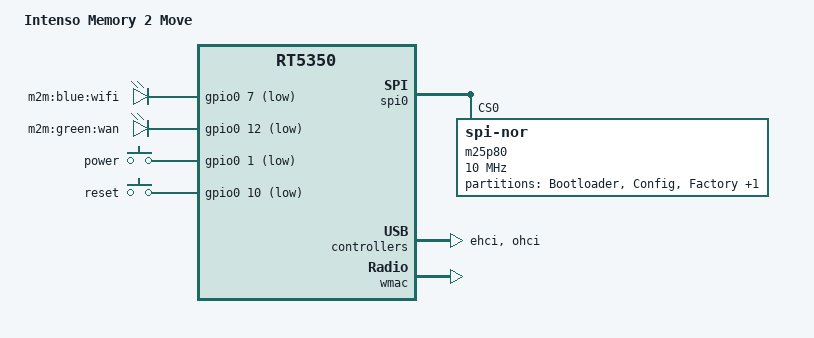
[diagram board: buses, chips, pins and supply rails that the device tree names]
/dts-v1/;

#include "rt5350.dtsi"

#include <dt-bindings/gpio/gpio.h>
#include <dt-bindings/input/input.h>

/ {
	compatible = "intenso,memory2move", "ralink,rt5350-soc";
	model = "Intenso Memory 2 Move";

	aliases {
		led-boot = &led_wifi;
		led-failsafe = &led_wifi;
		led-running = &led_wifi;
		led-upgrade = &led_wifi;
	};

	chosen {
		bootargs = "console=ttyS0,57600n8 root=/dev/mtdblock5";
	};

	gpio-leds {
		compatible = "gpio-leds";

		led_wifi: wifi {
			label = "m2m:blue:wifi";
			gpios = <&gpio0 7 GPIO_ACTIVE_LOW>;
		};

		wan {
			label = "m2m:green:wan";
			gpios = <&gpio0 12 GPIO_ACTIVE_LOW>;
		};
	};

	gpio-keys-polled {
		compatible = "gpio-keys-polled";
		poll-interval = <20>;

		power {
			label = "power";
			gpios = <&gpio0 1 GPIO_ACTIVE_LOW>;
			linux,code = <KEY_POWER>;
		};

		reset {
			label = "reset";
			gpios = <&gpio0 10 GPIO_ACTIVE_LOW>;
			linux,code = <KEY_RESTART>;
		};
	};
};

&spi0 {
	status = "okay";

	m25p80@0 {
		compatible = "jedec,spi-nor";
		reg = <0>;
		spi-max-frequency = <10000000>;

		partitions {
			compatible = "fixed-partitions";
			#address-cells = <1>;
			#size-cells = <1>;

			partition@0 {
				label = "Bootloader";
				reg = <0x0 0x30000>;
				read-only;
			};

			partition@30000 {
				label = "Config";
				reg = <0x30000 0x10000>;
				read-only;
			};

			factory: partition@40000 {
				label = "Factory";
				reg = <0x40000 0x10000>;
				read-only;
			};

			partition@50000 {
				label = "firmware";
				reg = <0x50000 0x7b0000>;
			};
		};
	};
};

&pinctrl {
	state_default: pinctrl0 {
		gpio {
			ralink,group = "i2c", "uartf";
			ralink,function = "gpio";
		};
	};
};

&ethernet {
	mtd-mac-address = <&factory 0x28>;
};

&esw {
	mediatek,portmap = <0x2f>;
};

&ehci {
	status = "okay";
};

&ohci {
	status = "okay";
};

&wmac {
	ralink,mtd-eeprom = <&factory 0x0>;
};
